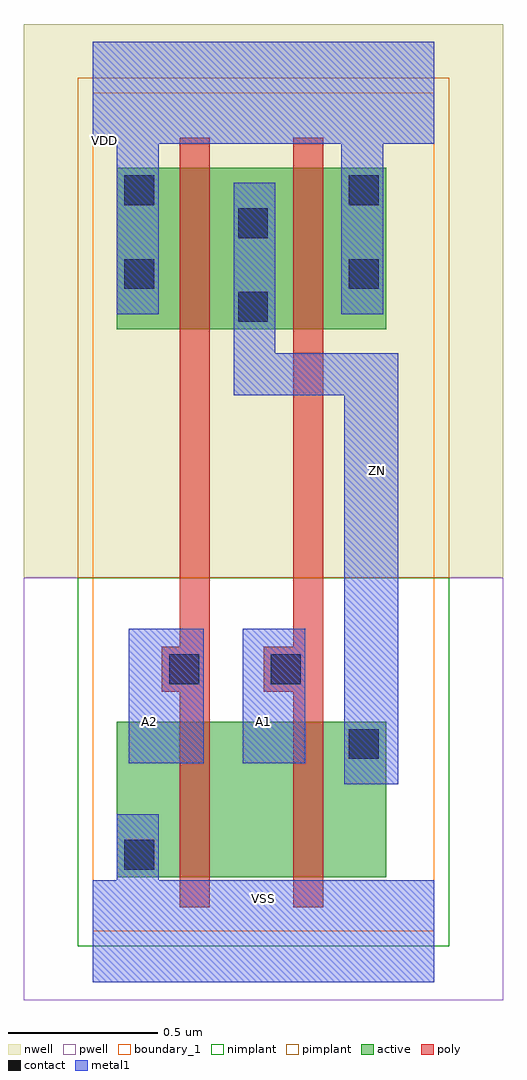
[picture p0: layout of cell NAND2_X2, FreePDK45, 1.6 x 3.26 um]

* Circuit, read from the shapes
.subckt NAND2_X2 A1 A2 VDD VSS ZN
M1 n1 A2 VSS VSUBS nfet w=0.52u l=0.1u
M2 ZN A1 n1 VSUBS nfet w=0.52u l=0.1u
M3 ZN A2 VDD n2 pfet w=0.54u l=0.1u
M4 VDD A1 ZN n2 pfet w=0.54u l=0.1u
.ends

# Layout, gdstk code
import gdstk
lib = gdstk.Library(unit=1e-6, precision=1e-09)
def R(c, l, rs):  # rectangles x0, y0, x1, y1
    for r in rs: c.add(gdstk.rectangle(r[:2], r[2:], *l))
def P(c, l, *ps):  # polygons
    for p in ps: c.add(gdstk.Polygon(p, *l))
active = (1, 0)
pwell = (2, 0)
nwell = (3, 0)
nimplant = (4, 0)
pimplant = (5, 0)
poly = (9, 0)
contact = (10, 0)
metal1 = (11, 0)
boundary_1 = (235, 1)

nand2_x2 = lib.new_cell('NAND2_X2')
R(nand2_x2, active, [(0.08,0.18,0.98,0.7), (0.08,2.01,0.98,2.55)])
R(nand2_x2, pwell, [(-0.23,-0.23,1.37,1.18)])
R(nand2_x2, nwell, [(-0.23,1.18,1.37,3.03)])
R(nand2_x2, nimplant, [(-0.05,-0.05,1.19,1.18)])
R(nand2_x2, pimplant, [(-0.05,1.18,1.19,2.85)])
P(nand2_x2, poly, [(0.57,0.8),(0.67,0.8),(0.67,0.08),(0.77,0.08),(0.77,2.65),(0.67,2.65),(0.67,0.95),(0.57,0.95)],
  [(0.23,0.8),(0.29,0.8),(0.29,0.08),(0.39,0.08),(0.39,2.65),(0.29,2.65),(0.29,0.95),(0.23,0.95)])
R(nand2_x2, contact, [(0.105,0.205,0.205,0.305), (0.855,0.575,0.955,0.675), (0.255,0.825,0.355,0.925), (0.595,0.825,0.695,0.925), (0.485,2.035,0.585,2.135), (0.105,2.145,0.205,2.245), (0.855,2.145,0.955,2.245), (0.485,2.315,0.585,2.415), (0.105,2.425,0.205,2.525), (0.855,2.425,0.955,2.525)])
R(nand2_x2, metal1, [(0.12,0.56,0.37,1.01), (0.12,0.56,0.37,1.01), (0.5,0.56,0.71,1.01), (0.5,0.56,0.71,1.01)])
P(nand2_x2, metal1, [(0.47,1.79),(0.84,1.79),(0.84,0.49),(1.02,0.49),(1.02,1.93),(0.61,1.93),(0.61,2.5),(0.47,2.5)],
  [(0,-0.17),(1.14,-0.17),(1.14,0.17),(0.22,0.17),(0.22,0.39),(0.08,0.39),(0.08,0.17),(0,0.17)],
  [(0,2.63),(0.08,2.63),(0.08,2.06),(0.22,2.06),(0.22,2.63),(0.83,2.63),(0.83,2.06),(0.97,2.06),(0.97,2.63),(1.14,2.63),(1.14,2.97),(0,2.97)],
  [(0,2.63),(0.08,2.63),(0.08,2.06),(0.22,2.06),(0.22,2.63),(0.83,2.63),(0.83,2.06),(0.97,2.06),(0.97,2.63),(1.14,2.63),(1.14,2.97),(0,2.97)],
  [(0,-0.17),(1.14,-0.17),(1.14,0.17),(0.22,0.17),(0.22,0.39),(0.08,0.39),(0.08,0.17),(0,0.17)],
  [(0.47,1.79),(0.84,1.79),(0.84,0.49),(1.02,0.49),(1.02,1.93),(0.61,1.93),(0.61,2.5),(0.47,2.5)])
R(nand2_x2, boundary_1, [(0,0,1.14,2.8)])
nand2_x2.add(gdstk.Label('ZN', (0.95,1.54), layer=11, texttype=0))
nand2_x2.add(gdstk.Label('VSS', (0.57,0.11), layer=11, texttype=0))
nand2_x2.add(gdstk.Label('VDD', (0.04,2.64), layer=11, texttype=0))
nand2_x2.add(gdstk.Label('A2', (0.19,0.7), layer=11, texttype=0))
nand2_x2.add(gdstk.Label('A1', (0.57,0.7), layer=11, texttype=0))

lib.write_gds('NAND2_X2.gds')
